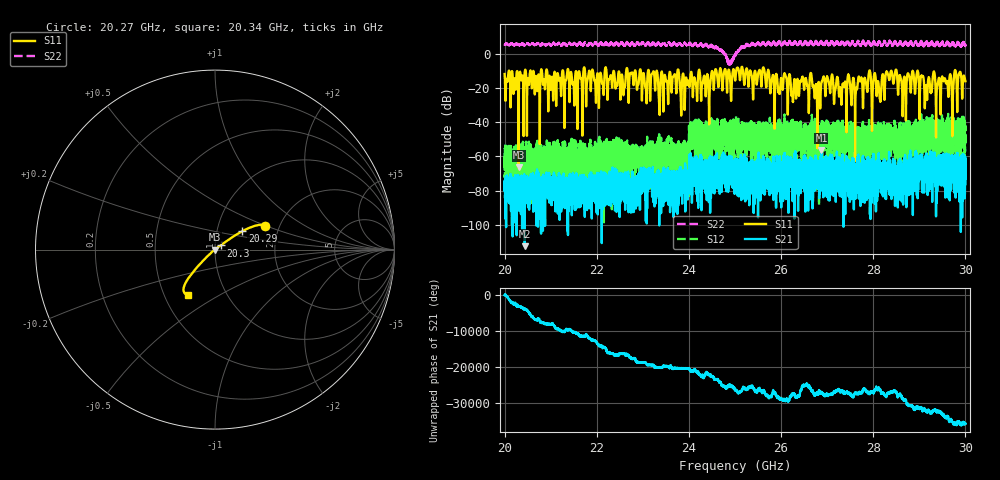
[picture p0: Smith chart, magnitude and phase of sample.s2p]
#  HZ  S  RI  R  50.00
! Rohde & Schwarz ZVA40 4Ports - Version 3.90 - 1145.1110k42 SN: 100403
! Date: 2023-08-22 06:17:04
! Measurements: S11 S21 S12 S22
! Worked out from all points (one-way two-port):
!   8001 points, 20 GHz to 30 GHz, reference 50 ohm
!   highest |S21| = -56.36 dB at 26.88 GHz (marker M1); lowest = -112.5 dB at 20.44 GHz (marker M2)
!   lowest |S11| = -66.5 dB at 20.3 GHz (marker M3), VSWR 1.00, Z = 50 + j0.0399 ohm
!   |S11| at or under -10 dB: 25.73 GHz to 27.91 GHz (2.185 GHz wide, 8.15 % of centre); 27.93 GHz to 28.39 GHz (457.5 MHz wide, 1.62 % of centre); 28.96 GHz to 29.77 GHz (805.2 MHz wide, 2.74 % of centre) (the widest 3 of 38)
!   |S22| runs from -7.4 to 7.8 dB; largest |S21 - S12| = 0.018
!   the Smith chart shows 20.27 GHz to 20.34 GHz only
!   S11 on the Smith chart (normalised r, x): 20.27 GHz: 1.68, +0.49; 20.29 GHz: 1.32, +0.28; 20.3 GHz: 1.06, +0.05; 20.34 GHz: 0.66, -0.37
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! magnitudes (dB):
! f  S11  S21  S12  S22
! 20 GHz  -11.9  -74.4  -63.9  5.2
! 20.27 GHz  -10.2  -81.1  -58.6  5.8
! 20.29 GHz  -14.7  -81.9  -59.6  5.4
! 20.3 GHz  -28.2  -72.0  -72.7  5.2
! 20.3 GHz  -66.5  -71.4  -72.4  5.3
! 20.34 GHz  -10.6  -85.4  -57.8  5.4
! 20.44 GHz  -10.5  -112.5  -61.2  5.0
! 21.67 GHz  -15.0  -75.6  -77.6  5.0
! 23.33 GHz  -17.9  -68.0  -55.6  6.6
! 23.95 GHz  -14.5  -74.6  -55.1  5.2
! 24.13 GHz  -15.2  -66.9  -47.0  5.9
! 25 GHz  -15.4  -71.9  -43.0  -1.0
! 26.28 GHz  -18.1  -65.2  -41.4  6.3
! 26.67 GHz  -14.5  -67.7  -39.9  6.5
! 26.75 GHz  -18.9  -59.5  -45.0  7.1
! 26.88 GHz  -16.8  -56.4  -45.7  7.2
! 27.57 GHz  -14.2  -67.3  -44.0  7.1
! 27.91 GHz  -10.6  -78.2  -46.9  7.2
! 28.12 GHz  -18.5  -62.7  -41.2  7.2
! 28.33 GHz  -13.7  -69.4  -43.9  6.3
! 28.67 GHz  -13.6  -62.4  -44.0  6.0
! 30 GHz  -16.1  -76.3  -46.5  4.8
